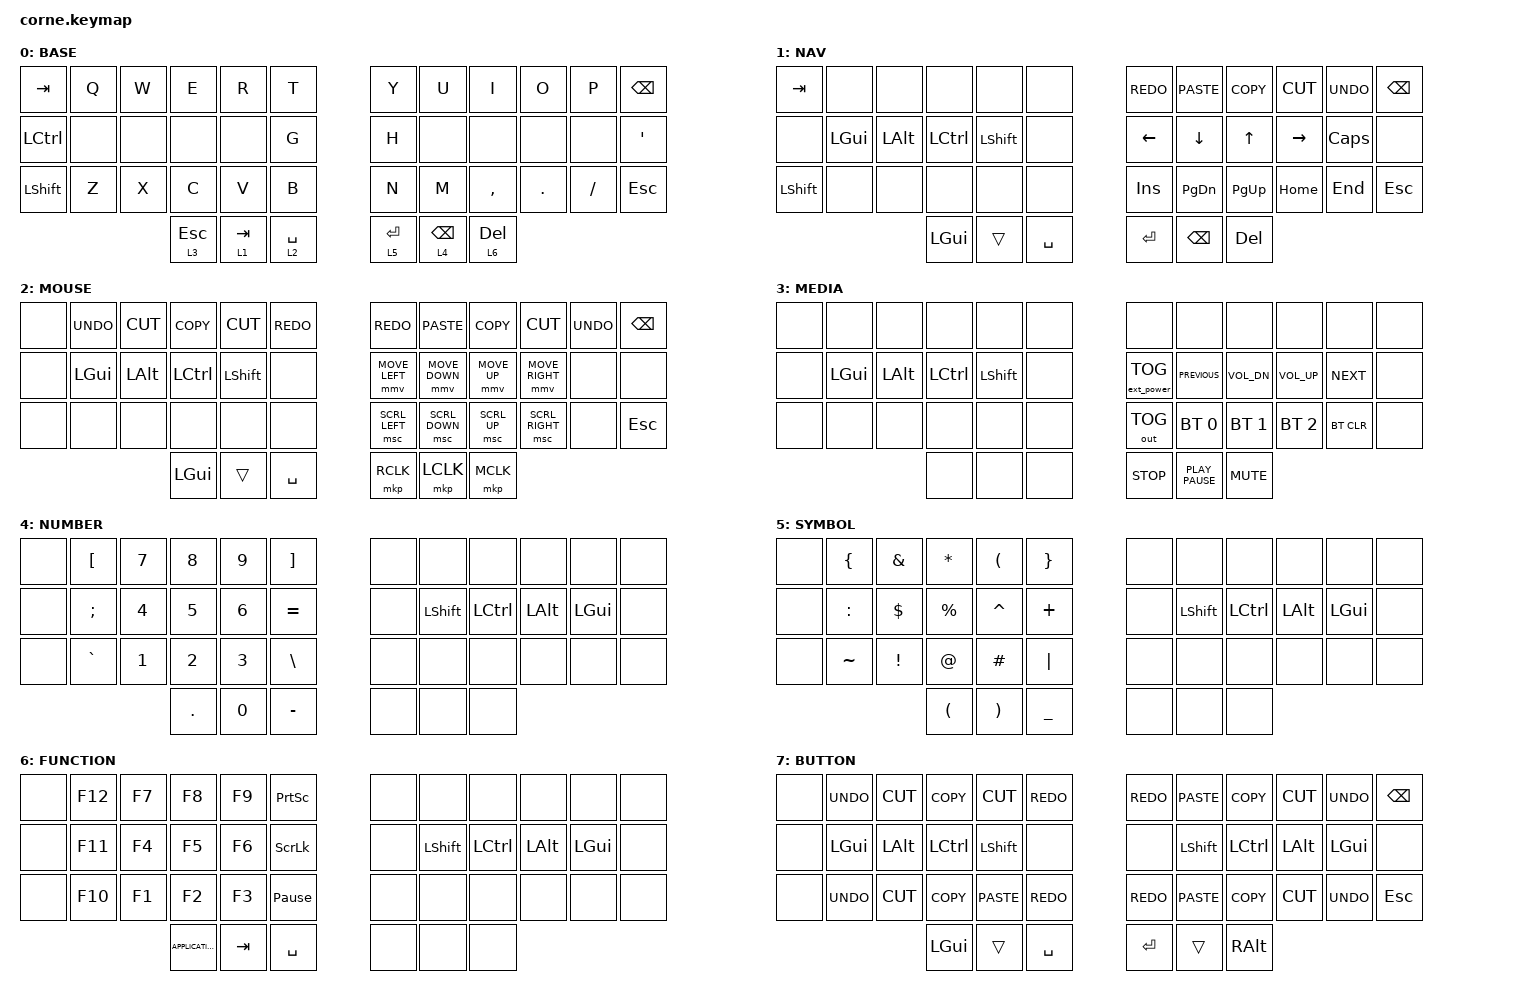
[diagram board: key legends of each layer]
/*
 * Copyright (c) 2020 The ZMK Contributors
 *
 * SPDX-License-Identifier: MIT
 */

#include <behaviors.dtsi>
#include <dt-bindings/zmk/bt.h>
#include <dt-bindings/zmk/ext_power.h>
#include <dt-bindings/zmk/keys.h>
#include <dt-bindings/zmk/outputs.h>
#include <dt-bindings/zmk/pointing.h>

/ {
    keymap {
        compatible = "zmk,keymap";

        BASE {
            // -----------------------------------------------------------------------------------------
            // |  TAB |  Q  |  W  |  E  |  R  |  T  |   |  Y  |  U   |  I  |  O  |  P  | BSPC |
            // | CTRL |  A  |  S  |  D  |  F  |  G  |   |  H  |  J   |  K  |  L  |  ;  |  '   |
            // | SHFT |  Z  |  X  |  C  |  V  |  B  |   |  N  |  M   |  ,  |  .  |  /  | ESC  |
            //                    | GUI | LWR | SPC |   | ENT | RSE  | ALT |

            bindings = <
&kp TAB    &kp Q  &kp W  &kp E         &kp R      &kp T          &kp Y        &kp U            &kp I      &kp O    &kp P     &kp BSPC
&kp LCTRL  &none  &none  &none         &none      &kp G          &kp H        &none            &none      &none    &none     &kp SQT
&kp LSHFT  &kp Z  &kp X  &kp C         &kp V      &kp B          &kp N        &kp M            &kp COMMA  &kp DOT  &kp FSLH  &kp ESC
                         &lt 3 ESCAPE  &lt 1 TAB  &lt 2 SPACE    &lt 5 ENTER  &lt 4 BACKSPACE  &lt 6 DEL
            >;

            label = "BASE";
        };

        NAV {
            // -----------------------------------------------------------------------------------------
            // |  TAB |  1  |  2  |  3  |  4  |  5  |   |  6  |  7  |  8  |  9  |  0  | BSPC |
            // | BTCLR| BT1 | BT2 | BT3 | BT4 | BT5 |   | LFT | DWN |  UP | RGT |     |      |
            // | SHFT |     |     |     |     |     |   |     |     |     |     |     |      |
            //                    | GUI |     | SPC |   | ENT |     | ALT |

            bindings = <
&kp TAB    &none     &none     &none      &none      &none        &kp K_REDO  &kp K_PASTE    &kp K_COPY  &kp K_CUT  &kp K_UNDO    &kp BSPC
&none      &kp LGUI  &kp LALT  &kp LCTRL  &kp LSHFT  &none        &kp LEFT    &kp DOWN       &kp UP      &kp RIGHT  &kp CAPSLOCK  &none
&kp LSHFT  &none     &none     &none      &none      &none        &kp INSERT  &kp PAGE_DOWN  &kp PG_UP   &kp HOME   &kp END       &kp ESC
                               &kp LGUI   &trans     &kp SPACE    &kp RET     &kp BACKSPACE  &kp DELETE
            >;

            label = "NAV";
        };

        MOUSE {
            bindings = <
&none  &kp K_UNDO  &kp K_CUT  &kp K_COPY  &kp K_CUT  &kp K_REDO    &kp K_REDO      &kp K_PASTE     &kp K_COPY    &kp K_CUT        &kp K_UNDO  &kp BSPC
&none  &kp LGUI    &kp LALT   &kp LCTRL   &kp LSHFT  &none         &mmv MOVE_LEFT  &mmv MOVE_DOWN  &mmv MOVE_UP  &mmv MOVE_RIGHT  &none       &none
&none  &none       &none      &none       &none      &none         &msc SCRL_LEFT  &msc SCRL_DOWN  &msc SCRL_UP  &msc SCRL_RIGHT  &none       &kp ESC
                              &kp LGUI    &trans     &kp SPACE     &mkp RCLK       &mkp LCLK       &mkp MCLK
            >;

            label = "MOUSE";
        };

        MEDIA {
            bindings = <
&none  &none     &none     &none      &none      &none    &none              &none             &none         &none            &none       &none
&none  &kp LGUI  &kp LALT  &kp LCTRL  &kp LSHFT  &none    &ext_power EP_TOG  &kp K_PREVIOUS    &kp K_VOL_DN  &kp K_VOLUME_UP  &kp K_NEXT  &none
&none  &none     &none     &none      &none      &none    &out OUT_TOG       &bt BT_SEL 0      &bt BT_SEL 1  &bt BT_SEL 2     &bt BT_CLR  &none
                           &none      &none      &none    &kp K_STOP         &kp K_PLAY_PAUSE  &kp K_MUTE
            >;

            label = "MEDIA";
        };

        NUM {
            bindings = <
&none  &kp LBKT   &kp N7  &kp N8   &kp N9  &kp RBKT     &none  &none      &none      &none     &none     &none
&none  &kp SEMI   &kp N4  &kp N5   &kp N6  &kp EQUAL    &none  &kp LSHFT  &kp LCTRL  &kp LALT  &kp LGUI  &none
&none  &kp GRAVE  &kp N1  &kp N2   &kp N3  &kp BSLH     &none  &none      &none      &none     &none     &none
                          &kp DOT  &kp N0  &kp MINUS    &none  &none      &none
            >;

            label = "NUMBER";
        };

        SYM {
            bindings = <
&none  &kp LEFT_BRACE  &kp AMPERSAND    &kp ASTRK             &kp LEFT_PARENTHESIS   &kp RIGHT_BRACE    &none  &none      &none      &none     &none     &none
&none  &kp COLON       &kp DOLLAR       &kp PERCENT           &kp CARET              &kp PLUS           &none  &kp LSHFT  &kp LCTRL  &kp LALT  &kp LGUI  &none
&none  &kp TILDE       &kp EXCLAMATION  &kp AT_SIGN           &kp HASH               &kp PIPE           &none  &none      &none      &none     &none     &none
                                        &kp LEFT_PARENTHESIS  &kp RIGHT_PARENTHESIS  &kp UNDERSCORE     &none  &none      &none
            >;

            label = "SYMBOL";
        };

        FUNCTION {
            bindings = <
&none  &kp F12  &kp F7  &kp F8             &kp F9   &kp PRINTSCREEN    &none  &none      &none      &none     &none     &none
&none  &kp F11  &kp F4  &kp F5             &kp F6   &kp SCROLLLOCK     &none  &kp LSHFT  &kp LCTRL  &kp LALT  &kp LGUI  &none
&none  &kp F10  &kp F1  &kp F2             &kp F3   &kp PAUSE_BREAK    &none  &none      &none      &none     &none     &none
                        &kp K_APPLICATION  &kp TAB  &kp SPACE          &none  &none      &none
            >;

            label = "FUNCTION";
        };

        BUTTON {
            bindings = <
&none  &kp K_UNDO  &kp K_CUT  &kp K_COPY  &kp K_CUT    &kp K_REDO    &kp K_REDO  &kp K_PASTE  &kp K_COPY  &kp K_CUT  &kp K_UNDO  &kp BSPC
&none  &kp LGUI    &kp LALT   &kp LCTRL   &kp LSHFT    &none         &none       &kp LSHFT    &kp LCTRL   &kp LALT   &kp LGUI    &none
&none  &kp K_UNDO  &kp K_CUT  &kp K_COPY  &kp K_PASTE  &kp K_REDO    &kp K_REDO  &kp K_PASTE  &kp K_COPY  &kp K_CUT  &kp K_UNDO  &kp ESC
                              &kp LGUI    &trans       &kp SPACE     &kp RET     &trans       &kp RALT
            >;
        };
    };
};
